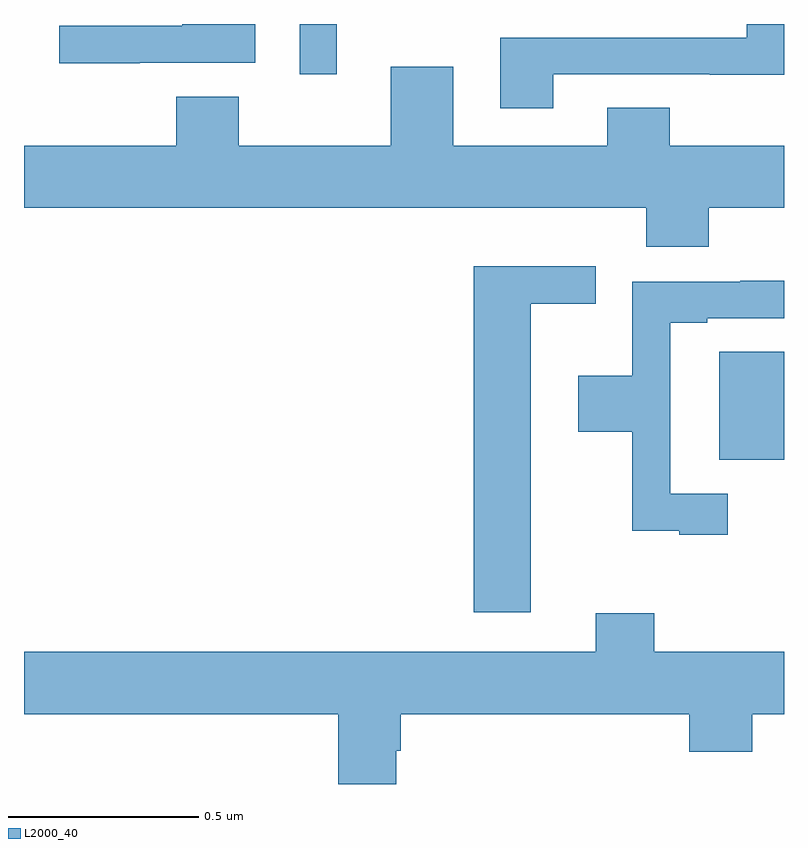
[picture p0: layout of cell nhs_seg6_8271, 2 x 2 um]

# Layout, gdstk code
import gdstk
lib = gdstk.Library(unit=1e-6, precision=1e-09)
def R(c, l, rs):  # rectangles x0, y0, x1, y1
    for r in rs: c.add(gdstk.rectangle(r[:2], r[2:], *l))
def P(c, l, *ps):  # polygons
    for p in ps: c.add(gdstk.Polygon(p, *l))
L2000_40 = (2000, 40)

nhs_seg6_8271 = lib.new_cell('nhs_seg6_8271')
R(nhs_seg6_8271, L2000_40, [(220.829,933.353,221,933.637), (219.726,934.368,219.823,934.5)])
P(nhs_seg6_8271, L2000_40, [(219.305,934.398),(219.609,934.398),(219.609,934.5),(219.416,934.5),(219.416,934.495),(219.093,934.495),(219.093,934.397),(219.305,934.397)],
  [(220.393,934.368),(220.805,934.368),(220.805,934.367),(221,934.367),(221,934.5),(220.902,934.5),(220.902,934.464),(220.253,934.464),(220.253,934.278),(220.393,934.278)],
  [(220.802,934.016),(221,934.016),(221,934.18),(220.699,934.18),(220.699,934.279),(220.535,934.279),(220.535,934.18),(220.129,934.18),(220.129,934.387),(219.965,934.387),(219.965,934.18),(219.565,934.18),(219.565,934.309),(219.401,934.309),(219.401,934.18),(219,934.18),(219,934.016),(220.637,934.016),(220.637,933.914),(220.802,933.914)],
  [(220.333,933.764),(220.504,933.764),(220.504,933.862),(220.184,933.862),(220.184,932.952),(220.333,932.952)],
  [(220.852,933.264),(220.701,933.264),(220.701,933.714),(220.798,933.714),(220.798,933.726),(221,933.726),(221,933.824),(220.885,933.824),(220.885,933.822),(220.6,933.822),(220.6,933.574),(220.458,933.574),(220.458,933.427),(220.6,933.427),(220.6,933.167),(220.724,933.167),(220.724,933.156),(220.852,933.156)],
  [(219.979,932.588),(219.992,932.588),(219.992,932.684),(220.751,932.684),(220.751,932.585),(220.916,932.585),(220.916,932.684),(221,932.684),(221,932.848),(220.658,932.848),(220.658,932.95),(220.505,932.95),(220.505,932.848),(219,932.848),(219,932.684),(219.827,932.684),(219.827,932.5),(219.979,932.5)])

lib.write_gds('nhs_seg6_8271.gds')
